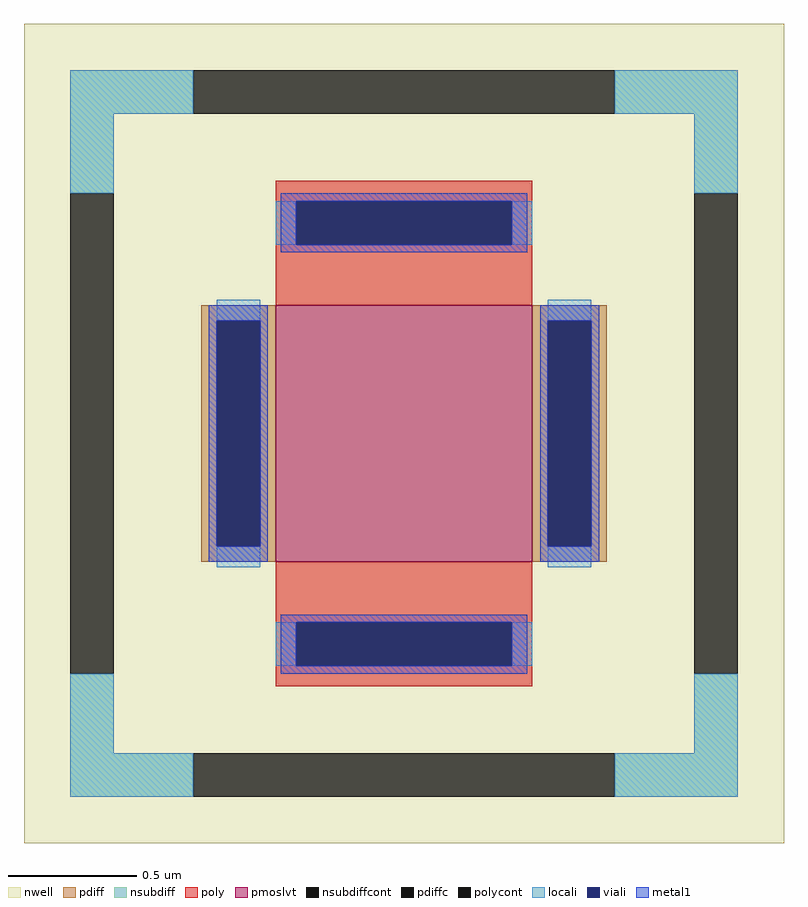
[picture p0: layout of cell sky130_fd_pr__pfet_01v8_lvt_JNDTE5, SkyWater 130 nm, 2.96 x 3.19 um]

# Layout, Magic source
magic
tech sky130A
magscale 1 2
<< nwell >>
rect -296 -319 296 319
<< pmoslvt >>
rect -100 -100 100 100
<< pdiff >>
rect -158 88 -100 100
rect -158 -88 -146 88
rect -112 -88 -100 88
rect -158 -100 -100 -88
rect 100 88 158 100
rect 100 -88 112 88
rect 146 -88 158 88
rect 100 -100 158 -88
<< pdiffc >>
rect -146 -88 -112 88
rect 112 -88 146 88
<< nsubdiff >>
rect -260 249 -164 283
rect 164 249 260 283
rect -260 187 -226 249
rect 226 187 260 249
rect -260 -249 -226 -187
rect 226 -249 260 -187
rect -260 -283 -164 -249
rect 164 -283 260 -249
<< nsubdiffcont >>
rect -164 249 164 283
rect -260 -187 -226 187
rect 226 -187 260 187
rect -164 -283 164 -249
<< poly >>
rect -100 181 100 197
rect -100 147 -84 181
rect 84 147 100 181
rect -100 100 100 147
rect -100 -147 100 -100
rect -100 -181 -84 -147
rect 84 -181 100 -147
rect -100 -197 100 -181
<< polycont >>
rect -84 147 84 181
rect -84 -181 84 -147
<< locali >>
rect -260 249 -164 283
rect 164 249 260 283
rect -260 187 -226 249
rect 226 187 260 249
rect -100 147 -84 181
rect 84 147 100 181
rect -146 88 -112 104
rect -146 -104 -112 -88
rect 112 88 146 104
rect 112 -104 146 -88
rect -100 -181 -84 -147
rect 84 -181 100 -147
rect -260 -249 -226 -187
rect 226 -249 260 -187
rect -260 -283 -164 -249
rect 164 -283 260 -249
<< viali >>
rect -84 147 84 181
rect -146 -88 -112 88
rect 112 -88 146 88
rect -84 -181 84 -147
<< metal1 >>
rect -96 181 96 187
rect -96 147 -84 181
rect 84 147 96 181
rect -96 141 96 147
rect -152 88 -106 100
rect -152 -88 -146 88
rect -112 -88 -106 88
rect -152 -100 -106 -88
rect 106 88 152 100
rect 106 -88 112 88
rect 146 -88 152 88
rect 106 -100 152 -88
rect -96 -147 96 -141
rect -96 -181 -84 -147
rect 84 -181 96 -147
rect -96 -187 96 -181
<< properties >>
string gencell sky130_fd_pr__pfet_01v8_lvt
string FIXED_BBOX -243 -266 243 266
string parameters w 1 l 1 m 1 nf 1 diffcov 100 polycov 100 guard 1 glc 1 grc 1 gtc 1 gbc 1 tbcov 100 rlcov 100 topc 1 botc 1 poverlap 0 doverlap 1 lmin 0.35 wmin 0.42 compatible {sky130_fd_pr__pfet_01v8  sky130_fd_pr__pfet_01v8_lvt sky130_fd_pr__pfet_01v8_hvt  sky130_fd_pr__pfet_g5v0d10v5} full_metal 1 viasrc 100 viadrn 100 viagate 100 viagb 0 viagr 0 viagl 0 viagt 0
string library sky130
<< end >>
